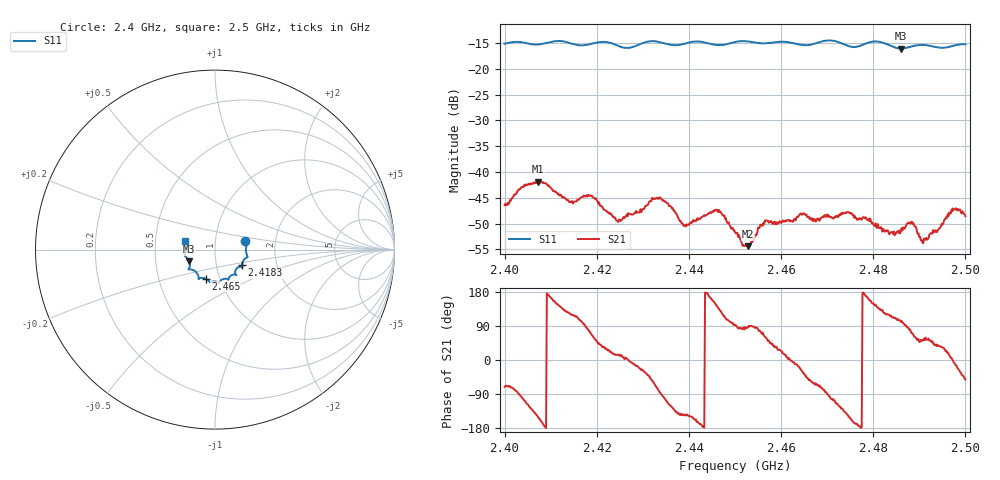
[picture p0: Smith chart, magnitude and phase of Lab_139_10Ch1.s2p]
# Hz S RI R 50
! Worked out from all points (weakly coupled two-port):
!   601 points, 2.4 GHz to 2.5 GHz, reference 50 ohm
!   highest |S21| = -41.90 dB at 2.4072 GHz (marker M1); lowest = -54.4 dB at 2.4528 GHz (marker M2)
!   lowest |S11| = -16.1 dB at 2.486 GHz (marker M3), VSWR 1.37, Z = 37.2 - j4.98 ohm
!   |S11| at or under -10 dB: start of sweep to end of sweep
!   S12 and S22 are empty: the file has one direction only
!   S11 on the Smith chart (normalised r, x): 2.4 GHz: 1.40, +0.13; 2.4183 GHz: 1.33, -0.24; 2.465 GHz: 0.86, -0.29; 2.5 GHz: 0.71, +0.07
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2.4e9  0.1696 0.0459  0.00156 -0.00451  0 0  0 0
2.403833e9  0.1791 0.0284  -0.00133 -0.00705  0 0  0 0
2.407167e9  0.1726 -0.00528  -0.00688 -0.00415  0 0  0 0
2.414333e9  0.1704 -0.0479  -0.00258 0.00437  0 0  0 0
2.416667e9  0.1549 -0.0681  -0.0012 0.00555  0 0  0 0
2.418333e9  0.15 -0.0871  0.0013 0.00575  0 0  0 0
2.424833e9  0.1355 -0.0956  0.00335 0.000846  0 0  0 0
2.433333e9  0.1175 -0.1409  0.0011 -0.00536  0 0  0 0
2.438833e9  0.0785 -0.156  -0.00241 -0.00179  0 0  0 0
2.446e9  0.0529 -0.1623  -0.0035 0.00251  0 0  0 0
2.45e9  0.0253 -0.1807  -6.69e-05 0.00261  0 0  0 0
2.452833e9  0.0195 -0.1837  0.000139 0.0019  0 0  0 0
2.456667e9  -0.00677 -0.1769  0.00171 0.00292  0 0  0 0
2.465e9  -0.0525 -0.1617  0.00319 -0.00228  0 0  0 0
2.466667e9  -0.0715 -0.1574  0.00179 -0.00289  0 0  0 0
2.474833e9  -0.0998 -0.1322  -0.00352 -0.002  0 0  0 0
2.483333e9  -0.1413 -0.0964  -0.00128 0.00224  0 0  0 0
2.486e9  -0.1434 -0.0653  -0.000494 0.00265  0 0  0 0
2.488333e9  -0.1595 -0.0442  0.0011 0.0031  0 0  0 0
2.490833e9  -0.1674 -0.0344  0.00126 0.0016  0 0  0 0
2.4975e9  -0.1653 0.032  0.00428 -0.000508  0 0  0 0
2.5e9  -0.1671 0.0471  0.00232 -0.00291  0 0  0 0
